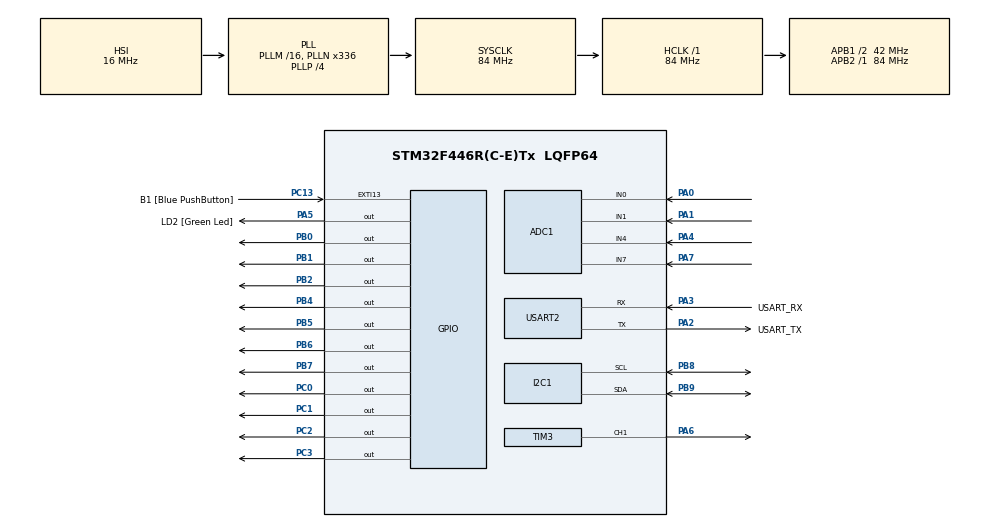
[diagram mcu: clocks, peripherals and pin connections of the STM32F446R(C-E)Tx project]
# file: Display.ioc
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ADC1.Channel-0\#ChannelRegularConversion=ADC_CHANNEL_0
ADC1.Channel-1\#ChannelRegularConversion=ADC_CHANNEL_1
ADC1.Channel-2\#ChannelRegularConversion=ADC_CHANNEL_4
ADC1.Channel-3\#ChannelRegularConversion=ADC_CHANNEL_7
ADC1.ContinuousConvMode=ENABLE
ADC1.NbrOfConversion=4
ADC1.NbrOfConversionFlag=1
ADC1.Rank-0\#ChannelRegularConversion=1
ADC1.Rank-1\#ChannelRegularConversion=2
ADC1.Rank-2\#ChannelRegularConversion=3
ADC1.Rank-3\#ChannelRegularConversion=4
ADC1.SamplingTime-0\#ChannelRegularConversion=ADC_SAMPLETIME_3CYCLES
ADC1.SamplingTime-1\#ChannelRegularConversion=ADC_SAMPLETIME_3CYCLES
ADC1.SamplingTime-2\#ChannelRegularConversion=ADC_SAMPLETIME_3CYCLES
ADC1.SamplingTime-3\#ChannelRegularConversion=ADC_SAMPLETIME_3CYCLES
ADC1.ScanConvMode=ENABLE
ADC1.master=1
Dma.ADC1.0.Direction=DMA_PERIPH_TO_MEMORY
Dma.ADC1.0.FIFOMode=DMA_FIFOMODE_DISABLE
Dma.ADC1.0.Instance=DMA2_Stream0
Dma.ADC1.0.MemDataAlignment=DMA_MDATAALIGN_WORD
Dma.ADC1.0.MemInc=DMA_MINC_ENABLE
Dma.ADC1.0.Mode=DMA_CIRCULAR
Dma.ADC1.0.PeriphDataAlignment=DMA_PDATAALIGN_WORD
Dma.ADC1.0.PeriphInc=DMA_PINC_DISABLE
Dma.ADC1.0.Priority=DMA_PRIORITY_LOW
Dma.Request0=ADC1
Dma.Request1=TIM3_CH1/TRIG
Dma.TIM3_CH1/TRIG.1.Direction=DMA_PERIPH_TO_MEMORY
Dma.TIM3_CH1/TRIG.1.FIFOMode=DMA_FIFOMODE_DISABLE
Dma.TIM3_CH1/TRIG.1.Instance=DMA1_Stream4
Dma.TIM3_CH1/TRIG.1.MemDataAlignment=DMA_MDATAALIGN_WORD
Dma.TIM3_CH1/TRIG.1.MemInc=DMA_MINC_ENABLE
Dma.TIM3_CH1/TRIG.1.Mode=DMA_NORMAL
Dma.TIM3_CH1/TRIG.1.PeriphDataAlignment=DMA_PDATAALIGN_WORD
Dma.TIM3_CH1/TRIG.1.PeriphInc=DMA_PINC_DISABLE
Dma.TIM3_CH1/TRIG.1.Priority=DMA_PRIORITY_LOW
I2C1.OwnAddress=0x12
Mcu.Family=STM32F4
Mcu.Name=STM32F446R(C-E)Tx
Mcu.Package=LQFP64
NVIC.DMA1_Stream4_IRQn=true\:0\:0\:false\:false\:true\:false\:true\:true
NVIC.DMA2_Stream0_IRQn=true\:0\:0\:false\:false\:true\:false\:true\:true
NVIC.I2C1_ER_IRQn=true\:0\:0\:false\:false\:true\:true\:true\:true
NVIC.I2C1_EV_IRQn=true\:0\:0\:false\:false\:true\:true\:true\:true
NVIC.PriorityGroup=NVIC_PRIORITYGROUP_0
NVIC.TIM4_IRQn=true\:0\:0\:false\:false\:true\:true\:true\:true
PA0-WKUP.Signal=ADCx_IN0
PA1.Signal=ADCx_IN1
PA13.GPIO_Label=TMS
PA13.Mode=Serial_Wire
PA13.Signal=SYS_JTMS-SWDIO
PA14.GPIO_Label=TCK
PA14.Mode=Serial_Wire
PA14.Signal=SYS_JTCK-SWCLK
PA2.GPIO_Label=USART_TX
PA2.Mode=Asynchronous
PA2.Signal=USART2_TX
PA3.GPIO_Label=USART_RX
PA3.Mode=Asynchronous
PA3.Signal=USART2_RX
PA4.Signal=ADCx_IN4
PA5.GPIO_Label=LD2 [Green Led]
PA5.Signal=GPIO_Output
PA6.Signal=S_TIM3_CH1
PA7.Signal=ADCx_IN7
PB0.Signal=GPIO_Output
PB1.Signal=GPIO_Output
PB2.Signal=GPIO_Output
PB3.GPIO_Label=SWO
PB3.Signal=SYS_JTDO-SWO
PB4.Signal=GPIO_Output
PB5.Signal=GPIO_Output
PB6.Signal=GPIO_Output
PB7.Signal=GPIO_Output
PB8.Mode=I2C
PB8.Signal=I2C1_SCL
PB9.Mode=I2C
PB9.Signal=I2C1_SDA
PC0.Signal=GPIO_Output
PC1.Signal=GPIO_Output
PC13.GPIO_Label=B1 [Blue PushButton]
PC13.GPIO_ModeDefaultEXTI=GPIO_MODE_IT_FALLING
PC13.Signal=GPXTI13
PC14-OSC32_IN.Mode=LSE-External-Oscillator
PC14-OSC32_IN.Signal=RCC_OSC32_IN
PC15-OSC32_OUT.Mode=LSE-External-Oscillator
PC15-OSC32_OUT.Signal=RCC_OSC32_OUT
PC2.Signal=GPIO_Output
PC3.Signal=GPIO_Output
PH0-OSC_IN.Mode=HSE-External-Oscillator
PH0-OSC_IN.Signal=RCC_OSC_IN
PH1-OSC_OUT.Mode=HSE-External-Oscillator
PH1-OSC_OUT.Signal=RCC_OSC_OUT
ProjectManager.HeapSize=0x200
ProjectManager.StackSize=0x400
ProjectManager.TargetToolchain=STM32CubeIDE
RCC.48MHZClocksFreq_Value=84000000
RCC.AHBFreq_Value=84000000
RCC.APB1CLKDivider=RCC_HCLK_DIV2
RCC.APB1Freq_Value=42000000
RCC.APB1TimFreq_Value=84000000
RCC.APB2Freq_Value=84000000
RCC.APB2TimFreq_Value=84000000
RCC.CortexFreq_Value=84000000
RCC.FLatency-AdvancedSettings=FLASH_LATENCY_2
RCC.HCLKFreq_Value=84000000
RCC.HSE_VALUE=8000000
RCC.HSI_VALUE=16000000
RCC.PLLN=336
RCC.PLLP=RCC_PLLP_DIV4
RCC.SYSCLKFreq_VALUE=84000000
RCC.SYSCLKSource=RCC_SYSCLKSOURCE_PLLCLK
RCC.USBFreq_Value=168000000
RCC.VCOOutputFreq_Value=336000000
SH.ADCx_IN0.0=ADC1_IN0,IN0
SH.ADCx_IN1.0=ADC1_IN1,IN1
SH.ADCx_IN4.0=ADC1_IN4,IN4
SH.ADCx_IN7.0=ADC1_IN7,IN7
SH.S_TIM3_CH1.0=TIM3_CH1,PWM Generation1 CH1
TIM3.Channel-PWM\ Generation1\ CH1=TIM_CHANNEL_1
TIM3.Period=104
TIM4.Period=4999
TIM4.Prescaler=83
USART2.VirtualMode=VM_ASYNC
VP_TIM3_VS_ClockSourceINT.Mode=Internal
VP_TIM4_VS_ClockSourceINT.Mode=Internal
board=NUCLEO-F446RE

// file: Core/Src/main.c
/* USER CODE BEGIN Header */
/**
  ******************************************************************************
  * @file           : main.c
  * @brief          : Main program body
  ******************************************************************************
  * @attention
  *
  * Copyright (c) 2026 STMicroelectronics.
  * All rights reserved.
  *
  * This software is licensed under terms that can be found in the LICENSE file
  * in the root directory of this software component.
  * If no LICENSE file comes with this software, it is provided AS-IS.
  *
  ******************************************************************************
  */
/* USER CODE END Header */
#include "main.h"

/* USER CODE BEGIN Includes */
#include "neopixel.h"
#include "sevseg.h"
/* USER CODE END Includes */

ADC_HandleTypeDef hadc1;
DMA_HandleTypeDef hdma_adc1;

I2C_HandleTypeDef hi2c1;

TIM_HandleTypeDef htim3;
TIM_HandleTypeDef htim4;
DMA_HandleTypeDef hdma_tim3_ch1_trig;

UART_HandleTypeDef huart2;

/* USER CODE BEGIN PV */
uint32_t adc_buffer[4];
uint8_t estado_mis_cajones = 0; // Byte donde cada bit es un cajón (0=Libre, 1=Ocupado)
uint8_t total_libres_global = 8; // Valor recibido por I2C para el display

// Buffers I2C
uint8_t i2c_tx_buffer[1];
uint8_t i2c_rx_buffer[1];

const uint32_t LDR_THRESHOLD = 2000;
/* USER CODE END PV */

void SystemClock_Config(void);
static void MX_GPIO_Init(void);
static void MX_DMA_Init(void);
static void MX_USART2_UART_Init(void);
static void MX_ADC1_Init(void);
static void MX_I2C1_Init(void);
static void MX_TIM3_Init(void);
static void MX_TIM4_Init(void);

/* USER CODE BEGIN 0 */
// --- CALLBACKS DEL TIMER ---
void HAL_TIM_PeriodElapsedCallback(TIM_HandleTypeDef *htim) {
    if (htim->Instance == TIM4) SevSeg_Multiplex_ISR();
}

void HAL_TIM_PWM_PulseFinishedCallback(TIM_HandleTypeDef *htim) {
    HAL_TIM_PWM_Stop_DMA(&htim3, TIM_CHANNEL_1);
}

// --- CALLBACKS DE I2C (Comunicación) ---
// Cuando el Maestro le pide datos a esta Nucleo (Envía estado LDRs)
void HAL_I2C_SlaveTxCpltCallback(I2C_HandleTypeDef *hi2c) {
    // Volvemos a armar la escucha por si el maestro vuelve a pedir
    HAL_I2C_Slave_Transmit_IT(&hi2c1, i2c_tx_buffer, 1);
}

// Cuando el Maestro le manda datos a esta Nucleo (Recibe espacios libres)
void HAL_I2C_SlaveRxCpltCallback(I2C_HandleTypeDef *hi2c) {
    total_libres_global = i2c_rx_buffer[0]; // Actualizamos el valor global
    HAL_I2C_Slave_Receive_IT(&hi2c1, i2c_rx_buffer, 1); // Volvemos a escuchar
}
/* USER CODE END 0 */

int main(void)
{

  /* MCU Configuration--------------------------------------------------------*/

  /* Reset of all peripherals, Initializes the Flash interface and the Systick. */
  HAL_Init();

  /* Configure the system clock */
  SystemClock_Config();

  /* Initialize all configured peripherals */
  MX_GPIO_Init();
  MX_DMA_Init();
  MX_USART2_UART_Init();
  MX_ADC1_Init();
  MX_I2C1_Init();
  MX_TIM3_Init();
  MX_TIM4_Init();
  /* USER CODE BEGIN 2 */
  NeoPixel_Init(&htim3, TIM_CHANNEL_1);
  HAL_TIM_Base_Start_IT(&htim4);
  HAL_ADC_Start_DMA(&hadc1, (uint32_t*)adc_buffer, 4);

  // Iniciar las escuchas I2C en modo interrupción
  HAL_I2C_Slave_Receive_IT(&hi2c1, i2c_rx_buffer, 1);
  HAL_I2C_Slave_Transmit_IT(&hi2c1, i2c_tx_buffer, 1);

  /* USER CODE END 2 */

  /* Infinite loop */
  /* USER CODE BEGIN WHILE */
  while (1)
  {
	  estado_mis_cajones = 0; // Limpiamos la variable
	  for (int i = 0; i < 4; i++) {
		  if (adc_buffer[i] < LDR_THRESHOLD) {
			  // Cajón Ocupado: Ponemos un 1 en el bit correspondiente y LED Rojo
			  estado_mis_cajones |= (1 << i);
			  NeoPixel_SetColor(i, 255, 0, 0);
		  } else {
			  // Cajón Libre: El bit queda en 0 y LED Verde
			  NeoPixel_SetColor(i, 0, 255, 0);
		  }
	  }

	  // Preparamos el buffer para cuando el Maestro pregunte
	  i2c_tx_buffer[0] = estado_mis_cajones;

	  // Actualizamos hardware físico
	  NeoPixel_Show();
	  SevSeg_UpdateValue(total_libres_global);

	  HAL_Delay(50);
    /* USER CODE END WHILE */

  }
}

void SystemClock_Config(void)
{
  RCC_OscInitTypeDef RCC_OscInitStruct = {0};
  RCC_ClkInitTypeDef RCC_ClkInitStruct = {0};

  /** Configure the main internal regulator output voltage
  */
  __HAL_RCC_PWR_CLK_ENABLE();
  __HAL_PWR_VOLTAGESCALING_CONFIG(PWR_REGULATOR_VOLTAGE_SCALE3);

  /** Initializes the RCC Oscillators according to the specified parameters
  * in the RCC_OscInitTypeDef structure.
  */
  RCC_OscInitStruct.OscillatorType = RCC_OSCILLATORTYPE_HSI;
  RCC_OscInitStruct.HSIState = RCC_HSI_ON;
  RCC_OscInitStruct.HSICalibrationValue = RCC_HSICALIBRATION_DEFAULT;
  RCC_OscInitStruct.PLL.PLLState = RCC_PLL_ON;
  RCC_OscInitStruct.PLL.PLLSource = RCC_PLLSOURCE_HSI;
  RCC_OscInitStruct.PLL.PLLM = 16;
  RCC_OscInitStruct.PLL.PLLN = 336;
  RCC_OscInitStruct.PLL.PLLP = RCC_PLLP_DIV4;
  RCC_OscInitStruct.PLL.PLLQ = 2;
  RCC_OscInitStruct.PLL.PLLR = 2;
  if (HAL_RCC_OscConfig(&RCC_OscInitStruct) != HAL_OK)
  {
    Error_Handler();
  }

  /** Initializes the CPU, AHB and APB buses clocks
  */
  RCC_ClkInitStruct.ClockType = RCC_CLOCKTYPE_HCLK|RCC_CLOCKTYPE_SYSCLK
                              |RCC_CLOCKTYPE_PCLK1|RCC_CLOCKTYPE_PCLK2;
  RCC_ClkInitStruct.SYSCLKSource = RCC_SYSCLKSOURCE_PLLCLK;
  RCC_ClkInitStruct.AHBCLKDivider = RCC_SYSCLK_DIV1;
  RCC_ClkInitStruct.APB1CLKDivider = RCC_HCLK_DIV2;
  RCC_ClkInitStruct.APB2CLKDivider = RCC_HCLK_DIV1;

  if (HAL_RCC_ClockConfig(&RCC_ClkInitStruct, FLASH_LATENCY_2) != HAL_OK)
  {
    Error_Handler();
  }
}

static void MX_ADC1_Init(void)
{

  ADC_ChannelConfTypeDef sConfig = {0};

  /** Configure the global features of the ADC (Clock, Resolution, Data Alignment and number of conversion)
  */
  hadc1.Instance = ADC1;
  hadc1.Init.ClockPrescaler = ADC_CLOCK_SYNC_PCLK_DIV4;
  hadc1.Init.Resolution = ADC_RESOLUTION_12B;
  hadc1.Init.ScanConvMode = ENABLE;
  hadc1.Init.ContinuousConvMode = ENABLE;
  hadc1.Init.DiscontinuousConvMode = DISABLE;
  hadc1.Init.ExternalTrigConvEdge = ADC_EXTERNALTRIGCONVEDGE_NONE;
  hadc1.Init.ExternalTrigConv = ADC_SOFTWARE_START;
  hadc1.Init.DataAlign = ADC_DATAALIGN_RIGHT;
  hadc1.Init.NbrOfConversion = 4;
  hadc1.Init.DMAContinuousRequests = DISABLE;
  hadc1.Init.EOCSelection = ADC_EOC_SINGLE_CONV;
  if (HAL_ADC_Init(&hadc1) != HAL_OK)
  {
    Error_Handler();
  }

  /** Configure for the selected ADC regular channel its corresponding rank in the sequencer and its sample time.
  */
  sConfig.Channel = ADC_CHANNEL_0;
  sConfig.Rank = 1;
  sConfig.SamplingTime = ADC_SAMPLETIME_3CYCLES;
  if (HAL_ADC_ConfigChannel(&hadc1, &sConfig) != HAL_OK)
  {
    Error_Handler();
  }

  /** Configure for the selected ADC regular channel its corresponding rank in the sequencer and its sample time.
  */
  sConfig.Channel = ADC_CHANNEL_1;
  sConfig.Rank = 2;
  if (HAL_ADC_ConfigChannel(&hadc1, &sConfig) != HAL_OK)
  {
    Error_Handler();
  }

  /** Configure for the selected ADC regular channel its corresponding rank in the sequencer and its sample time.
  */
  sConfig.Channel = ADC_CHANNEL_4;
  sConfig.Rank = 3;
  if (HAL_ADC_ConfigChannel(&hadc1, &sConfig) != HAL_OK)
  {
    Error_Handler();
  }

  /** Configure for the selected ADC regular channel its corresponding rank in the sequencer and its sample time.
  */
  sConfig.Channel = ADC_CHANNEL_7;
  sConfig.Rank = 4;
  if (HAL_ADC_ConfigChannel(&hadc1, &sConfig) != HAL_OK)
  {
    Error_Handler();
  }

}

static void MX_I2C1_Init(void)
{

  hi2c1.Instance = I2C1;
  hi2c1.Init.ClockSpeed = 100000;
  hi2c1.Init.DutyCycle = I2C_DUTYCYCLE_2;
  hi2c1.Init.OwnAddress1 = 36;
  hi2c1.Init.AddressingMode = I2C_ADDRESSINGMODE_7BIT;
  hi2c1.Init.DualAddressMode = I2C_DUALADDRESS_DISABLE;
  hi2c1.Init.OwnAddress2 = 0;
  hi2c1.Init.GeneralCallMode = I2C_GENERALCALL_DISABLE;
  hi2c1.Init.NoStretchMode = I2C_NOSTRETCH_DISABLE;
  if (HAL_I2C_Init(&hi2c1) != HAL_OK)
  {
    Error_Handler();
  }

}

static void MX_TIM3_Init(void)
{

  TIM_ClockConfigTypeDef sClockSourceConfig = {0};
  TIM_MasterConfigTypeDef sMasterConfig = {0};
  TIM_OC_InitTypeDef sConfigOC = {0};

  htim3.Instance = TIM3;
  htim3.Init.Prescaler = 0;
  htim3.Init.CounterMode = TIM_COUNTERMODE_UP;
  htim3.Init.Period = 104;
  htim3.Init.ClockDivision = TIM_CLOCKDIVISION_DIV1;
  htim3.Init.AutoReloadPreload = TIM_AUTORELOAD_PRELOAD_DISABLE;
  if (HAL_TIM_Base_Init(&htim3) != HAL_OK)
  {
    Error_Handler();
  }
  sClockSourceConfig.ClockSource = TIM_CLOCKSOURCE_INTERNAL;
  if (HAL_TIM_ConfigClockSource(&htim3, &sClockSourceConfig) != HAL_OK)
  {
    Error_Handler();
  }
  if (HAL_TIM_PWM_Init(&htim3) != HAL_OK)
  {
    Error_Handler();
  }
  sMasterConfig.MasterOutputTrigger = TIM_TRGO_RESET;
  sMasterConfig.MasterSlaveMode = TIM_MASTERSLAVEMODE_DISABLE;
  if (HAL_TIMEx_MasterConfigSynchronization(&htim3, &sMasterConfig) != HAL_OK)
  {
    Error_Handler();
  }
  sConfigOC.OCMode = TIM_OCMODE_PWM1;
  sConfigOC.Pulse = 0;
  sConfigOC.OCPolarity = TIM_OCPOLARITY_HIGH;
  sConfigOC.OCFastMode = TIM_OCFAST_DISABLE;
  if (HAL_TIM_PWM_ConfigChannel(&htim3, &sConfigOC, TIM_CHANNEL_1) != HAL_OK)
  {
    Error_Handler();
  }
  HAL_TIM_MspPostInit(&htim3);

}

static void MX_TIM4_Init(void)
{

  TIM_ClockConfigTypeDef sClockSourceConfig = {0};
  TIM_MasterConfigTypeDef sMasterConfig = {0};

  htim4.Instance = TIM4;
  htim4.Init.Prescaler = 83;
  htim4.Init.CounterMode = TIM_COUNTERMODE_UP;
  htim4.Init.Period = 4999;
  htim4.Init.ClockDivision = TIM_CLOCKDIVISION_DIV1;
  htim4.Init.AutoReloadPreload = TIM_AUTORELOAD_PRELOAD_DISABLE;
  if (HAL_TIM_Base_Init(&htim4) != HAL_OK)
  {
    Error_Handler();
  }
  sClockSourceConfig.ClockSource = TIM_CLOCKSOURCE_INTERNAL;
  if (HAL_TIM_ConfigClockSource(&htim4, &sClockSourceConfig) != HAL_OK)
  {
    Error_Handler();
  }
  sMasterConfig.MasterOutputTrigger = TIM_TRGO_RESET;
  sMasterConfig.MasterSlaveMode = TIM_MASTERSLAVEMODE_DISABLE;
  if (HAL_TIMEx_MasterConfigSynchronization(&htim4, &sMasterConfig) != HAL_OK)
  {
    Error_Handler();
  }

}

static void MX_USART2_UART_Init(void)
{

  huart2.Instance = USART2;
  huart2.Init.BaudRate = 115200;
  huart2.Init.WordLength = UART_WORDLENGTH_8B;
  huart2.Init.StopBits = UART_STOPBITS_1;
  huart2.Init.Parity = UART_PARITY_NONE;
  huart2.Init.Mode = UART_MODE_TX_RX;
  huart2.Init.HwFlowCtl = UART_HWCONTROL_NONE;
  huart2.Init.OverSampling = UART_OVERSAMPLING_16;
  if (HAL_UART_Init(&huart2) != HAL_OK)
  {
    Error_Handler();
  }

}

static void MX_DMA_Init(void)
{

  /* DMA controller clock enable */
  __HAL_RCC_DMA2_CLK_ENABLE();
  __HAL_RCC_DMA1_CLK_ENABLE();

  /* DMA interrupt init */
  /* DMA1_Stream4_IRQn interrupt configuration */
  HAL_NVIC_SetPriority(DMA1_Stream4_IRQn, 0, 0);
  HAL_NVIC_EnableIRQ(DMA1_Stream4_IRQn);
  /* DMA2_Stream0_IRQn interrupt configuration */
  HAL_NVIC_SetPriority(DMA2_Stream0_IRQn, 0, 0);
  HAL_NVIC_EnableIRQ(DMA2_Stream0_IRQn);

}

static void MX_GPIO_Init(void)
{
  GPIO_InitTypeDef GPIO_InitStruct = {0};

  /* GPIO Ports Clock Enable */
  __HAL_RCC_GPIOC_CLK_ENABLE();
  __HAL_RCC_GPIOH_CLK_ENABLE();
  __HAL_RCC_GPIOA_CLK_ENABLE();
  __HAL_RCC_GPIOB_CLK_ENABLE();

  /*Configure GPIO pin Output Level */
  HAL_GPIO_WritePin(GPIOC, GPIO_PIN_0|GPIO_PIN_1|GPIO_PIN_2|GPIO_PIN_3, GPIO_PIN_RESET);

  /*Configure GPIO pin Output Level */
  HAL_GPIO_WritePin(LD2_GPIO_Port, LD2_Pin, GPIO_PIN_RESET);

  /*Configure GPIO pin Output Level */
  HAL_GPIO_WritePin(GPIOB, GPIO_PIN_0|GPIO_PIN_1|GPIO_PIN_2|GPIO_PIN_4
                          |GPIO_PIN_5|GPIO_PIN_6|GPIO_PIN_7, GPIO_PIN_RESET);

  /*Configure GPIO pin : B1_Pin */
  GPIO_InitStruct.Pin = B1_Pin;
  GPIO_InitStruct.Mode = GPIO_MODE_IT_FALLING;
  GPIO_InitStruct.Pull = GPIO_NOPULL;
  HAL_GPIO_Init(B1_GPIO_Port, &GPIO_InitStruct);

  /*Configure GPIO pins : PC0 PC1 PC2 PC3 */
  GPIO_InitStruct.Pin = GPIO_PIN_0|GPIO_PIN_1|GPIO_PIN_2|GPIO_PIN_3;
  GPIO_InitStruct.Mode = GPIO_MODE_OUTPUT_PP;
  GPIO_InitStruct.Pull = GPIO_NOPULL;
  GPIO_InitStruct.Speed = GPIO_SPEED_FREQ_LOW;
  HAL_GPIO_Init(GPIOC, &GPIO_InitStruct);

  /*Configure GPIO pin : LD2_Pin */
  GPIO_InitStruct.Pin = LD2_Pin;
  GPIO_InitStruct.Mode = GPIO_MODE_OUTPUT_PP;
  GPIO_InitStruct.Pull = GPIO_NOPULL;
  GPIO_InitStruct.Speed = GPIO_SPEED_FREQ_LOW;
  HAL_GPIO_Init(LD2_GPIO_Port, &GPIO_InitStruct);

  /*Configure GPIO pins : PB0 PB1 PB2 PB4
                           PB5 PB6 PB7 */
  GPIO_InitStruct.Pin = GPIO_PIN_0|GPIO_PIN_1|GPIO_PIN_2|GPIO_PIN_4
                          |GPIO_PIN_5|GPIO_PIN_6|GPIO_PIN_7;
  GPIO_InitStruct.Mode = GPIO_MODE_OUTPUT_PP;
  GPIO_InitStruct.Pull = GPIO_NOPULL;
  GPIO_InitStruct.Speed = GPIO_SPEED_FREQ_LOW;
  HAL_GPIO_Init(GPIOB, &GPIO_InitStruct);

}

void Error_Handler(void)
{
  __disable_irq();
  while (1)
  {
  }
}
